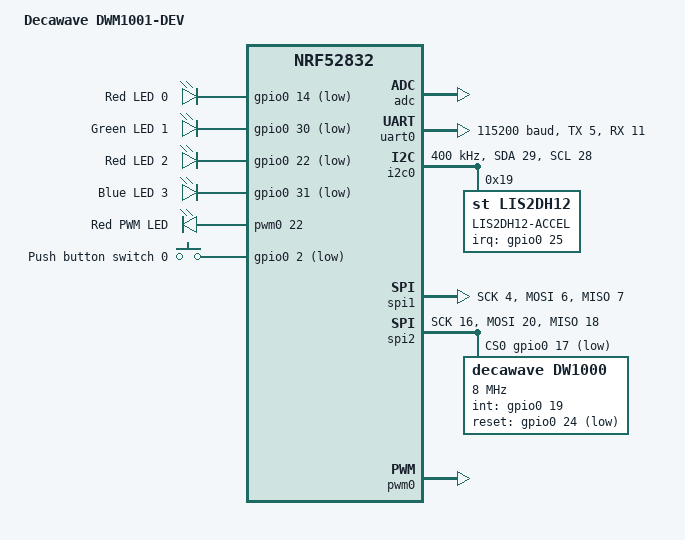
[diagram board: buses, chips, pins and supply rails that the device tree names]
/*
 * Copyright (c) 2019 Stéphane D'Alu
 *
 * SPDX-License-Identifier: Apache-2.0
 */

/dts-v1/;
#include <nordic/nrf52832_qfaa.dtsi>

/ {
	model = "Decawave DWM1001-DEV";
	compatible = "decawave,dwm1001";

	chosen {
		zephyr,console        = &uart0;
		zephyr,shell-uart     = &uart0;
		zephyr,uart-mcumgr    = &uart0;
		zephyr,bt-mon-uart    = &uart0;
		zephyr,bt-c2h-uart    = &uart0;
		zephyr,sram           = &sram0;
		zephyr,flash          = &flash0;
		zephyr,code-partition = &slot0_partition;
	};

	leds {
		compatible = "gpio-leds";
		led0_red: led_0 {
			gpios = <&gpio0 14 GPIO_ACTIVE_LOW>;
			label = "Red LED 0";
		};
		led1_green: led_1 {
			gpios = <&gpio0 30 GPIO_ACTIVE_LOW>;
			label = "Green LED 1";
		};
		led2_red: led_2 {
			gpios = <&gpio0 22 GPIO_ACTIVE_LOW>;
			label = "Red LED 2";
		};
		led3_blue: led_3 {
			gpios = <&gpio0 31 GPIO_ACTIVE_LOW>;
			label = "Blue LED 3";
		};
	};

	pwmleds {
		compatible = "pwm-leds";
		pwm_led0_red: pwm_led_0 {
			pwms = <&pwm0 22>;
			label = "Red PWM LED";
		};
	};

	buttons {
		compatible = "gpio-keys";
		button0: button_0 {
			gpios = <&gpio0 2 (GPIO_PULL_UP | GPIO_ACTIVE_LOW)>;
			label = "Push button switch 0";
		};
	};

	/* These aliases are provided for compatibility with samples */
	aliases {
		sw0        = &button0;
		led0       = &led0_red;
		led1       = &led1_green;
		led2       = &led2_red;
		led3       = &led3_blue;
		led0-red   = &led0_red;
		led1-green = &led1_green;
		led2-red   = &led2_red;
		led3-blue  = &led3_blue;
		pwm-led0   = &pwm_led0_red;
	};

};

&adc {
	status = "okay";
};

&gpiote {
	status = "okay";
};

&gpio0 {
	status = "okay";
};

&uart0 {
	status = "okay";
	compatible = "nordic,nrf-uart";
	current-speed = <115200>;
	tx-pin  = <5>;
	rx-pin  = <11>;
};

&i2c0 {
	compatible = "nordic,nrf-twim";
	status = "okay";
	clock-frequency = <I2C_BITRATE_FAST>;
	sda-pin = <29>;
	scl-pin = <28>;

	lis2dh12: lis2dh12@19 {
		compatible = "st,lis2dh12", "st,lis2dh";
		reg = <0x19>;
		irq-gpios = <&gpio0 25 GPIO_ACTIVE_HIGH>;
		label = "LIS2DH12-ACCEL";
	};
};

&spi1 {
	compatible = "nordic,nrf-spi";
	status = "okay";
	sck-pin  = <4>;
	mosi-pin = <6>;
	miso-pin = <7>;
	cs-gpios = <&gpio0 3 0>;
};

&spi2 {
	compatible = "nordic,nrf-spi";
	status = "okay";
	sck-pin  = <16>;
	mosi-pin = <20>;
	miso-pin = <18>;
	cs-gpios = <&gpio0 17 GPIO_ACTIVE_LOW>;

	dw1000@0 {
		compatible = "decawave,dw1000";
		spi-max-frequency = <8000000>;
		int-gpios = <&gpio0 19 GPIO_ACTIVE_HIGH>;	/* P0.19 */
		reset-gpios = <&gpio0 24 GPIO_ACTIVE_LOW>;	/* P0.24 */
		status = "okay";
		label = "DW1000";
		reg = <0>;
	};
};

&pwm0 {
	status = "okay";
	ch0-pin = <22>;
	ch0-inverted;
};

&flash0 {
	/*
	 * For more information, see:
	 * https://docs.zephyrproject.org/latest/guides/dts/legacy-macros.html#legacy-flash-partitions
	 */
	partitions {
		compatible = "fixed-partitions";
		#address-cells = <1>;
		#size-cells = <1>;

		boot_partition: partition@0 {
			label = "mcuboot";
			reg = <0x00000000 0xc000>;
		};
		slot0_partition: partition@c000 {
			label = "image-0";
			reg = <0x0000C000 0x32000>;
		};
		slot1_partition: partition@3e000 {
			label = "image-1";
			reg = <0x0003E000 0x32000>;
		};
		scratch_partition: partition@70000 {
			label = "image-scratch";
			reg = <0x00070000 0xa000>;
		};
		storage_partition: partition@7a000 {
			label = "storage";
			reg = <0x0007a000 0x00006000>;
		};
	};
};
